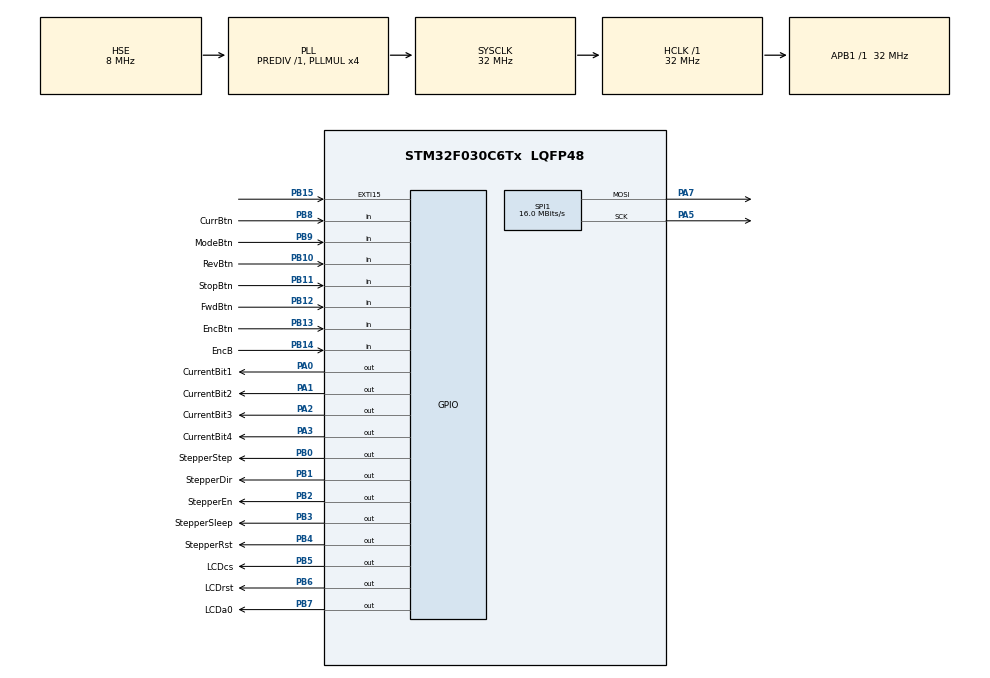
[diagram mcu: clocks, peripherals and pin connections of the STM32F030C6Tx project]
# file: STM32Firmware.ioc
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Mcu.Family=STM32F0
Mcu.Name=STM32F030C6Tx
Mcu.Package=LQFP48
NVIC.EXTI4_15_IRQn=true\:0\:0\:false\:false\:true\:true\:true\:true
NVIC.TIM3_IRQn=true\:0\:0\:false\:false\:true\:true\:true\:true
PA0.GPIO_Label=CurrentBit1
PA0.Signal=GPIO_Output
PA1.GPIO_Label=CurrentBit2
PA1.Signal=GPIO_Output
PA13.Mode=Serial_Wire
PA13.Signal=SYS_SWDIO
PA14.Mode=Serial_Wire
PA14.Signal=SYS_SWCLK
PA2.GPIO_Label=CurrentBit3
PA2.Signal=GPIO_Output
PA3.GPIO_Label=CurrentBit4
PA3.Signal=GPIO_Output
PA4.Signal=SPI1_NSS
PA5.Mode=TX_Only_Simplex_Unidirect_Master
PA5.Signal=SPI1_SCK
PA6.Signal=SPI1_MISO
PA7.Mode=TX_Only_Simplex_Unidirect_Master
PA7.Signal=SPI1_MOSI
PB0.GPIO_Label=StepperStep
PB0.Signal=GPIO_Output
PB1.GPIO_Label=StepperDir
PB1.Signal=GPIO_Output
PB10.GPIO_Label=RevBtn
PB10.Signal=GPIO_Input
PB11.GPIO_Label=StopBtn
PB11.Signal=GPIO_Input
PB12.GPIO_Label=FwdBtn
PB12.Signal=GPIO_Input
PB13.GPIO_Label=EncBtn
PB13.Signal=GPIO_Input
PB14.GPIO_Label=EncB
PB14.Signal=GPIO_Input
PB15.GPIO_ModeDefaultEXTI=GPIO_MODE_IT_RISING_FALLING
PB15.Signal=GPXTI15
PB2.GPIO_Label=StepperEn
PB2.Signal=GPIO_Output
PB3.GPIO_Label=StepperSleep
PB3.Signal=GPIO_Output
PB4.GPIO_Label=StepperRst
PB4.Signal=GPIO_Output
PB5.GPIO_Label=LCDcs
PB5.Signal=GPIO_Output
PB6.GPIO_Label=LCDrst
PB6.Signal=GPIO_Output
PB7.GPIO_Label=LCDa0
PB7.Signal=GPIO_Output
PB8.GPIO_Label=CurrBtn
PB8.Signal=GPIO_Input
PB9.GPIO_Label=ModeBtn
PB9.Signal=GPIO_Input
PF0-OSC_IN.Mode=HSE-External-Oscillator
PF0-OSC_IN.Signal=RCC_OSC_IN
PF1-OSC_OUT.Mode=HSE-External-Oscillator
PF1-OSC_OUT.Signal=RCC_OSC_OUT
ProjectManager.HeapSize=0x200
ProjectManager.StackSize=0x400
ProjectManager.TargetToolchain=CMake
RCC.AHBFreq_Value=32000000
RCC.APB1Freq_Value=32000000
RCC.APB1TimFreq_Value=32000000
RCC.HCLKFreq_Value=32000000
RCC.PLLMUL=RCC_PLL_MUL4
RCC.PLLSourceVirtual=RCC_PLLSOURCE_HSE
RCC.SYSCLKFreq_VALUE=32000000
RCC.SYSCLKSource=RCC_SYSCLKSOURCE_PLLCLK
SPI1.BaudRatePrescaler=SPI_BAUDRATEPRESCALER_2
SPI1.CalculateBaudRate=16.0 MBits/s
SPI1.DataSize=SPI_DATASIZE_8BIT
SPI1.Direction=SPI_DIRECTION_2LINES
SPI1.Mode=SPI_MODE_MASTER
SPI1.VirtualType=VM_MASTER
VP_TIM3_VS_ClockSourceINT.Mode=Internal
board=custom

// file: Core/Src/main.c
/* USER CODE BEGIN Header */
/**
  ******************************************************************************
  * @file           : main.c
  * @brief          : Main program body
  ******************************************************************************
  * @attention
  *
  * Copyright (c) 2025 STMicroelectronics.
  * All rights reserved.
  *
  * This software is licensed under terms that can be found in the LICENSE file
  * in the root directory of this software component.
  * If no LICENSE file comes with this software, it is provided AS-IS.
  *
  ******************************************************************************
  */
/* USER CODE END Header */
#include "main.h"

/* USER CODE BEGIN Includes */
#include <stdbool.h>
#include <math.h>
#include <string.h>
#include <stdio.h>
#include <stdlib.h>

/* USER CODE END Includes */

/* USER CODE BEGIN PD */

#define STEP_PIN GPIO_PIN_0
#define DIR_PIN GPIO_PIN_1

#define STEPS_PER_REV 1600
#define VAL_PER_SEC_TIMER 1e9 //This sets what the units are for all the timer intevals and such. i.e. 1e9 means they're ns.
#define ERROR_FACTOR 16384 //This sets how much finer resolution the interval_error_term is compared to step_interval
#define ERROR_THRESHOLD 10 //This sets the cutoff for step_interval below which we start tracking the error factor
#define CLOCK_SPEED_HZ 32e6

#define ENCODER_POS_TO_REV 0.05
#define MAX_DAC_CURRENT 2579 //The current corresponding to maximum DAC output is 2579mA

#define LCD_WIDTH  132
#define LCD_HEIGHT 64

#define FONT_WIDTH  5
#define FONT_HEIGHT 8

/* USER CODE END PD */

SPI_HandleTypeDef hspi1;

TIM_HandleTypeDef htim3;

void SystemClock_Config(void);
static void MX_GPIO_Init(void);
static void MX_SPI1_Init(void);
static void MX_TIM3_Init(void);

/* USER CODE BEGIN 0 */

//This font taken from Adafruit's GFX Library.
static const unsigned char font[] = {
    0x00, 0x00, 0x00, 0x00, 0x00,
    0x3E, 0x5B, 0x4F, 0x5B, 0x3E,
    0x3E, 0x6B, 0x4F, 0x6B, 0x3E,
    0x1C, 0x3E, 0x7C, 0x3E, 0x1C,
    0x18, 0x3C, 0x7E, 0x3C, 0x18,
    0x1C, 0x57, 0x7D, 0x57, 0x1C,
    0x1C, 0x5E, 0x7F, 0x5E, 0x1C,
    0x00, 0x18, 0x3C, 0x18, 0x00,
    0xFF, 0xE7, 0xC3, 0xE7, 0xFF,
    0x00, 0x18, 0x24, 0x18, 0x00,
    0xFF, 0xE7, 0xDB, 0xE7, 0xFF,
    0x30, 0x48, 0x3A, 0x06, 0x0E,
    0x26, 0x29, 0x79, 0x29, 0x26,
    0x40, 0x7F, 0x05, 0x05, 0x07,
    0x40, 0x7F, 0x05, 0x25, 0x3F,
    0x5A, 0x3C, 0xE7, 0x3C, 0x5A,
    0x7F, 0x3E, 0x1C, 0x1C, 0x08,
    0x08, 0x1C, 0x1C, 0x3E, 0x7F,
    0x14, 0x22, 0x7F, 0x22, 0x14,
    0x5F, 0x5F, 0x00, 0x5F, 0x5F,
    0x06, 0x09, 0x7F, 0x01, 0x7F,
    0x00, 0x66, 0x89, 0x95, 0x6A,
    0x60, 0x60, 0x60, 0x60, 0x60,
    0x94, 0xA2, 0xFF, 0xA2, 0x94,
    0x08, 0x04, 0x7E, 0x04, 0x08,
    0x10, 0x20, 0x7E, 0x20, 0x10,
    0x08, 0x08, 0x2A, 0x1C, 0x08,
    0x08, 0x1C, 0x2A, 0x08, 0x08,
    0x1E, 0x10, 0x10, 0x10, 0x10,
    0x0C, 0x1E, 0x0C, 0x1E, 0x0C,
    0x30, 0x38, 0x3E, 0x38, 0x30,
    0x06, 0x0E, 0x3E, 0x0E, 0x06,
    0x00, 0x00, 0x00, 0x00, 0x00,
    0x00, 0x00, 0x5F, 0x00, 0x00,
    0x00, 0x07, 0x00, 0x07, 0x00,
    0x14, 0x7F, 0x14, 0x7F, 0x14,
    0x24, 0x2A, 0x7F, 0x2A, 0x12,
    0x23, 0x13, 0x08, 0x64, 0x62,
    0x36, 0x49, 0x56, 0x20, 0x50,
    0x00, 0x08, 0x07, 0x03, 0x00,
    0x00, 0x1C, 0x22, 0x41, 0x00,
    0x00, 0x41, 0x22, 0x1C, 0x00,
    0x2A, 0x1C, 0x7F, 0x1C, 0x2A,
    0x08, 0x08, 0x3E, 0x08, 0x08,
    0x00, 0x80, 0x70, 0x30, 0x00,
    0x08, 0x08, 0x08, 0x08, 0x08,
    0x00, 0x00, 0x60, 0x60, 0x00,
    0x20, 0x10, 0x08, 0x04, 0x02,
    0x3E, 0x51, 0x49, 0x45, 0x3E,
    0x00, 0x42, 0x7F, 0x40, 0x00,
    0x72, 0x49, 0x49, 0x49, 0x46,
    0x21, 0x41, 0x49, 0x4D, 0x33,
    0x18, 0x14, 0x12, 0x7F, 0x10,
    0x27, 0x45, 0x45, 0x45, 0x39,
    0x3C, 0x4A, 0x49, 0x49, 0x31,
    0x41, 0x21, 0x11, 0x09, 0x07,
    0x36, 0x49, 0x49, 0x49, 0x36,
    0x46, 0x49, 0x49, 0x29, 0x1E,
    0x00, 0x00, 0x14, 0x00, 0x00,
    0x00, 0x40, 0x34, 0x00, 0x00,
    0x00, 0x08, 0x14, 0x22, 0x41,
    0x14, 0x14, 0x14, 0x14, 0x14,
    0x00, 0x41, 0x22, 0x14, 0x08,
    0x02, 0x01, 0x59, 0x09, 0x06,
    0x3E, 0x41, 0x5D, 0x59, 0x4E,
    0x7C, 0x12, 0x11, 0x12, 0x7C,
    0x7F, 0x49, 0x49, 0x49, 0x36,
    0x3E, 0x41, 0x41, 0x41, 0x22,
    0x7F, 0x41, 0x41, 0x41, 0x3E,
    0x7F, 0x49, 0x49, 0x49, 0x41,
    0x7F, 0x09, 0x09, 0x09, 0x01,
    0x3E, 0x41, 0x41, 0x51, 0x73,
    0x7F, 0x08, 0x08, 0x08, 0x7F,
    0x00, 0x41, 0x7F, 0x41, 0x00,
    0x20, 0x40, 0x41, 0x3F, 0x01,
    0x7F, 0x08, 0x14, 0x22, 0x41,
    0x7F, 0x40, 0x40, 0x40, 0x40,
    0x7F, 0x02, 0x1C, 0x02, 0x7F,
    0x7F, 0x04, 0x08, 0x10, 0x7F,
    0x3E, 0x41, 0x41, 0x41, 0x3E,
    0x7F, 0x09, 0x09, 0x09, 0x06,
    0x3E, 0x41, 0x51, 0x21, 0x5E,
    0x7F, 0x09, 0x19, 0x29, 0x46,
    0x26, 0x49, 0x49, 0x49, 0x32,
    0x03, 0x01, 0x7F, 0x01, 0x03,
    0x3F, 0x40, 0x40, 0x40, 0x3F,
    0x1F, 0x20, 0x40, 0x20, 0x1F,
    0x3F, 0x40, 0x38, 0x40, 0x3F,
    0x63, 0x14, 0x08, 0x14, 0x63,
    0x03, 0x04, 0x78, 0x04, 0x03,
    0x61, 0x59, 0x49, 0x4D, 0x43,
    0x00, 0x7F, 0x41, 0x41, 0x41,
    0x02, 0x04, 0x08, 0x10, 0x20,
    0x00, 0x41, 0x41, 0x41, 0x7F,
    0x04, 0x02, 0x01, 0x02, 0x04,
    0x40, 0x40, 0x40, 0x40, 0x40,
    0x00, 0x03, 0x07, 0x08, 0x00,
    0x20, 0x54, 0x54, 0x78, 0x40,
    0x7F, 0x28, 0x44, 0x44, 0x38,
    0x38, 0x44, 0x44, 0x44, 0x28,
    0x38, 0x44, 0x44, 0x28, 0x7F,
    0x38, 0x54, 0x54, 0x54, 0x18,
    0x00, 0x08, 0x7E, 0x09, 0x02,
    0x18, 0xA4, 0xA4, 0x9C, 0x78,
    0x7F, 0x08, 0x04, 0x04, 0x78,
    0x00, 0x44, 0x7D, 0x40, 0x00,
    0x20, 0x40, 0x40, 0x3D, 0x00,
    0x7F, 0x10, 0x28, 0x44, 0x00,
    0x00, 0x41, 0x7F, 0x40, 0x00,
    0x7C, 0x04, 0x78, 0x04, 0x78,
    0x7C, 0x08, 0x04, 0x04, 0x78,
    0x38, 0x44, 0x44, 0x44, 0x38,
    0xFC, 0x18, 0x24, 0x24, 0x18,
    0x18, 0x24, 0x24, 0x18, 0xFC,
    0x7C, 0x08, 0x04, 0x04, 0x08,
    0x48, 0x54, 0x54, 0x54, 0x24,
    0x04, 0x04, 0x3F, 0x44, 0x24,
    0x3C, 0x40, 0x40, 0x20, 0x7C,
    0x1C, 0x20, 0x40, 0x20, 0x1C,
    0x3C, 0x40, 0x30, 0x40, 0x3C,
    0x44, 0x28, 0x10, 0x28, 0x44,
    0x4C, 0x90, 0x90, 0x90, 0x7C,
    0x44, 0x64, 0x54, 0x4C, 0x44
};

// -------------------------------- Variables --------------------------------

// Variables for the move planner (the numbers are 100x their "real" values)
int stepper_setSpeed = 100; //   rev/s  *100
int stepper_setAccel = 1000;//   rev/s2 *100
int stepper_setMulti = 100; //   unitless
int stepper_setDist = 100;//     rev
int stepper_targPos = 0;//        microsteps !
int stepper_dir = 1; //+1 for forward, -1 for reverse
int stepper_currentSpeed=0;//    rev/s *100
volatile int stepper_currentPos = 0;//    microsteps
int stepper_currentPos_Disp = 0;//revs * 100

volatile int accel_steps = 0;
volatile int stopping_steps =0;
volatile bool running = false;
volatile int steps_remaining=0;
volatile int step_count=0;
 bool step_state = false;
volatile uint32_t step_interval =0;
volatile uint32_t min_interval = 0;
 uint32_t interval_delta =0;
volatile uint32_t interval_error_delta=0;
 uint32_t interval_error_term=0;
volatile uint32_t total_ticks;
volatile uint32_t prescaler;
volatile uint32_t arr;

//Variables for the overall state machine
uint8_t stepper_mode = 0;  // 0 = momentary, 1 = continous, 2 = manJog, 3 = Reciprocate
int stepper_current = 1000;

//Manual Jog
uint8_t lastEncoderMode = 0;

//Reciprocate
int cycleCount = 0;
bool stopNextCycle = 0;
int8_t reciprocate_dir = 0;
int8_t reciprocate_state = 0; // -1=inbound, 0= not running, 1=outbound

//Momentary
int8_t btnCommand = 0;  // -1 = reverse, 0 = stop, 1 = forward

//Encoder variables
//static bool ENC_B_lastState = 0;
int8_t EncStepDir = 0;
bool ENC_A = 0;
bool ENC_B = 0;
uint8_t numEncoderModes=2; //how many encoder modes are available for the current mode
uint8_t encoderMode = 0;  // Current mode
float incrementValue = 0;
uint32_t currPulseTime = 100;
uint32_t lastPulseTime = 0;

typedef struct EncoderParametersStruct {
  int* variable;       // Pointer to the variable we want to modify
  int minVal;          // Minimum value for the variable
  int maxVal;          // Maximum value for the variable
  int fineStepSize;    // Step size for each increment/decrement
  int midStepSize;     // Step size for each increment/decrement
  int coarseStepSize;  // Step size for each increment/decrement
} EncoderParametersStruct;

EncoderParametersStruct encoderParameter[] = {
  // variable, minVal, maxVal, fine, mid, coarse step size
  { &stepper_setSpeed, 1, 2500, 1, 10, 100 },
  { &stepper_setAccel, 1, 99999, 10, 100, 1000 },
  { &stepper_targPos, -32768, 32768, 100, 100, 100 },
  { &stepper_setMulti, 1, 99999, 1, 10, 100 },
  { &stepper_setDist, 1, 99999, 1, 10, 100 },
};

//Button Variables
bool lastStateFWD=false;
bool lastStateSTP=false;
bool lastStateREV=false;
bool lastStateMOD=false;
bool lastStateCUR=false;
bool lastStateENT=false;

//Display Variables
char strBuffer[15]; //a reusable string buffer
static uint8_t buffer[LCD_WIDTH * LCD_HEIGHT / 8];   // 1-bit framebuffer
int8_t cursorPos = 0;

///////////////////////////////////////////////////////////////////////////////////////////////////////////////////
///////////////////////////////////////////////////////////////////////////////////////////////////////////////////
///////////////////////////////////////////////////////////////////////////////////////////////////////////////////
///////////////////////////////////////////////////////////////////////////////////////////////////////////////////
///////////////////////////////////////////////////////////////////////////////////////////////////////////////////
///////////////////////////////////////////////////////////////////////////////////////////////////////////////////

bool isButtonPressedFWD() {
  return HAL_GPIO_ReadPin(GPIOB, GPIO_PIN_12)==GPIO_PIN_SET;
}

bool isButtonPressedSTP() {
  return HAL_GPIO_ReadPin(GPIOB, GPIO_PIN_11)==GPIO_PIN_SET;
}

bool isButtonPressedREV() {
  return HAL_GPIO_ReadPin(GPIOB, GPIO_PIN_10)==GPIO_PIN_SET;
}

bool isButtonPressedMOD() {
  return HAL_GPIO_ReadPin(GPIOB, GPIO_PIN_9)==GPIO_PIN_SET;
}

bool isButtonPressedCUR() {
  return HAL_GPIO_ReadPin(GPIOB, GPIO_PIN_8)==GPIO_PIN_SET;
}

bool isButtonPressedENT() {
  return HAL_GPIO_ReadPin(GPIOB, GPIO_PIN_13)==GPIO_PIN_SET;
}

bool isRisingButtonFWD() {
  bool newState = isButtonPressedFWD();
  bool isRisingEdge = (lastStateFWD==false && newState==true);
  lastStateFWD=newState;
  return isRisingEdge;
}

/*
bool isRisingButtonSTP() {
  bool newState = isButtonPressedSTP();
  bool isRisingEdge = (lastStateSTP==false && newState==true);
  lastStateSTP=newState;
  return isRisingEdge;
}*/

bool isRisingButtonREV() {
  bool newState = isButtonPressedREV();
  bool isRisingEdge = (lastStateREV==false && newState==true);
  lastStateREV=newState;
  return isRisingEdge;
}

bool isRisingButtonMOD() {
  bool newState = isButtonPressedMOD();
  bool isRisingEdge = (lastStateMOD==false && newState==true);
  lastStateMOD=newState;
  return isRisingEdge;
}

bool isRisingButtonCUR() {
  bool newState = isButtonPressedCUR();
  bool isRisingEdge = (lastStateCUR==false && newState==true);
  lastStateCUR=newState;
  return isRisingEdge;
}

bool isRisingButtonENT() {
  bool newState = isButtonPressedENT();
  bool isRisingEdge = (lastStateENT==false && newState==true);
  lastStateENT=newState;
  return isRisingEdge;
}

void setCurrentPins() {
  //This task sets the 4 bits of the DAC to write a value for current limit
  //BIT 4 is the MSB

  float fraction = (float)stepper_current / MAX_DAC_CURRENT;
  uint8_t value = (uint8_t)(fraction * 15.0);  //Squash to a 0-15 range

  HAL_GPIO_WritePin(GPIOA, GPIO_PIN_0, (value & 0x1) ? GPIO_PIN_SET : GPIO_PIN_RESET);
  HAL_GPIO_WritePin(GPIOA, GPIO_PIN_1, (value & 0x2) ? GPIO_PIN_SET : GPIO_PIN_RESET);
  HAL_GPIO_WritePin(GPIOA, GPIO_PIN_2, (value & 0x4) ? GPIO_PIN_SET : GPIO_PIN_RESET);
  HAL_GPIO_WritePin(GPIOA, GPIO_PIN_3, (value & 0x8) ? GPIO_PIN_SET : GPIO_PIN_RESET);
}

///////////////////////////////////////////////////////////////////////////////////////////////////////////////////
///////////////////////////////////////////////////////////////////////////////////////////////////////////////////
///////////////////////////////////////////////////////////////////////////////////////////////////////////////////
///////////////////////////////////////////////////////////////////////////////////////////////////////////////////
///////////////////////////////////////////////////////////////////////////////////////////////////////////////////
///////////////////////////////////////////////////////////////////////////////////////////////////////////////////

void delay_us(uint32_t us) {
    uint32_t count = (SystemCoreClock / 1000000) * us / 5;
    while(count--) {
        __NOP();  // assembly no-op
    }
}

static void ST7567_Select(void)   {HAL_GPIO_WritePin(GPIOB, GPIO_PIN_5, GPIO_PIN_RESET); delay_us(100);}
static void ST7567_Unselect(void)   {HAL_GPIO_WritePin(GPIOB, GPIO_PIN_5, GPIO_PIN_SET); delay_us(100);}

static void ST7567_Command(uint8_t cmd) {
    HAL_GPIO_WritePin(GPIOB, GPIO_PIN_7, GPIO_PIN_RESET); //DC Bit
    ST7567_Select();
    HAL_SPI_Transmit(&hspi1, &cmd, 1, HAL_MAX_DELAY);
    ST7567_Unselect();
}

void ST7567_Init(void) {
    // Reset pulse
    HAL_GPIO_WritePin(GPIOB, GPIO_PIN_6, GPIO_PIN_RESET); // pulsing the reset pin
    HAL_Delay(100);
    HAL_GPIO_WritePin(GPIOB, GPIO_PIN_6, GPIO_PIN_SET);

    // Typical ST7567 init sequence
    ST7567_Command(0xAE);
    ST7567_Command(0xE2);
    ST7567_Command(0xA1);
    ST7567_Command(0xC0);
    ST7567_Command(0xA2);
    ST7567_Command(0x2F);
    ST7567_Command(0x26);
    ST7567_Command(0x81);
    ST7567_Command(0x28);
    ST7567_Command(0xAF);
}

void ST7567_Clear(void) {
    memset(buffer, 0x00, sizeof(buffer));
}

void ST7567_DrawPixel(uint8_t x, uint8_t y) { //}, uint8_t color) {
    if (x >= LCD_WIDTH || y >= LCD_HEIGHT) return;
    uint16_t index = x + (y / 8) * LCD_WIDTH;
    //if (color)
    buffer[index] |=  (1 << (y & 7));
    //else       buffer[index] &= ~(1 << (y & 7));
}

void ST7567_DrawHLine(uint8_t x0, uint8_t x1, uint8_t y)
{
    if (x1 < x0) {
        uint8_t temp = x0;
        x0 = x1;
        x1 = temp;
    }

    for (uint8_t x = x0; x <= x1; x++) {
        ST7567_DrawPixel(x, y);
    }
}

void ST7567_DrawVLine(uint8_t x, uint8_t y0, uint8_t y1)
{
    if (y1 < y0) {
        uint8_t temp = y0;
        y0 = y1;
        y1 = temp;
    }

    for (uint8_t y = y0; y <= y1; y++) {
        ST7567_DrawPixel(x, y);
    }
}

void ST7567_DrawRect(uint8_t x0, uint8_t y0, uint8_t x1, uint8_t y1)
{
    ST7567_DrawHLine(x0, x1, y0); // top
    ST7567_DrawHLine(x0, x1, y1); // bottom
    ST7567_DrawVLine(x0, y0, y1); // left
    ST7567_DrawVLine(x1, y0, y1); // right
}

void ST7567_Display(void) {
    for (uint8_t page = 0; page < (LCD_HEIGHT / 8); page++) {
        ST7567_Command(0xB0 | page);    // set page address
        ST7567_Command(0x10);           // set column high bits to 0
        ST7567_Command(0x00);           // set column low bits to 0

        ST7567_Select();
        HAL_GPIO_WritePin(GPIOB, GPIO_PIN_7, GPIO_PIN_SET); //DC Bit
        HAL_SPI_Transmit(&hspi1, &buffer[LCD_WIDTH * page], LCD_WIDTH, HAL_MAX_DELAY);
        ST7567_Unselect();
    }
}

void ST7567_DrawChar(uint8_t x, uint8_t y, char c, uint8_t size)
{
    const uint8_t *glyph = &font[(c * 5)];

    for (uint8_t col = 0; col < FONT_WIDTH; col++) {
        uint8_t line = glyph[col];
        for (uint8_t row = 0; row < FONT_HEIGHT; row++) {
            if (line & 0x01) {
                // Draw scaled pixel block
                for (uint8_t dx = 0; dx < size; dx++) {
                    for (uint8_t dy = 0; dy < size; dy++) {
                        ST7567_DrawPixel(x + col * size + dx, y + row * size + dy);
                    }
                }
            }
            line >>= 1;
        }
    }
}

void ST7567_DrawText(uint8_t x, uint8_t y, const char *text, uint8_t size)
{
    while (*text) {
        ST7567_DrawChar(x, y, *text, size);
        x += (FONT_WIDTH + 1) * size; // 1-pixel spacing scaled up
        text++;
    }
}

void DrawBitmap(int x, int y, const uint8_t *bitmap, int width, int height)
{
    int byteWidth = (width + 7) / 8; // each byte holds 8 horizontal pixels

    for (int j = 0; j < height; j++)
    {
        for (int i = 0; i < width; i++)
        {
            int byteIndex = j * byteWidth + i / 8;
            if (bitmap[byteIndex] & (0x80 >> (i & 7)))
            {
                ST7567_DrawPixel(x + i, y + j);
            }
        }
    }
}

uint8_t squareSymbolBitmap[] = {
  0b11100000,
  0b00100000,
  0b11100000,
  0b10000000,
  0b11100000,
};

uint8_t upArrow[] = { 0x20, 0x50, 0x88 };    // bitmap image of up arrow
uint8_t downArrow[] = { 0x88, 0x50, 0x20 };  // bitmap image of down arrow

void displayDrawArrow() {
  int position = 0;
  if ((HAL_GetTick() % 500) > 125) position = 1;
  if ((HAL_GetTick() % 500) > 250) position = 2;
  if ((HAL_GetTick() % 500) > 375) position = 3;

  if (stepper_currentSpeed > 0) {
    DrawBitmap(81, 24 - position, upArrow, 5, 3); }

  if (stepper_currentSpeed < 0) {
    DrawBitmap(81, 21 + position, downArrow, 5, 3);}
}

///////////////////////////////////////////////////////////////////////////////////////////////////////////////////
///////////////////////////////////////////////////////////////////////////////////////////////////////////////////
///////////////////////////////////////////////////////////////////////////////////////////////////////////////////
///////////////////////////////////////////////////////////////////////////////////////////////////////////////////
///////////////////////////////////////////////////////////////////////////////////////////////////////////////////
///////////////////////////////////////////////////////////////////////////////////////////////////////////////////

void drawSplashScreen() {
  ST7567_Clear();
  memset(buffer, 0xFF, sizeof(buffer));
  ST7567_DrawText(5,23,"Zino Manufacturing",1);
  ST7567_DrawText(5,33,"Dominic Panzino 2025", 1);
  ST7567_Display();
}

//This function assumes the number is 100x its "real" value
void printToTwoDecimalPlaces(char formatString[], int number) {
  memset(strBuffer, 0x00, sizeof(strBuffer));
  snprintf(strBuffer, sizeof(strBuffer), formatString,number/100,abs((number/10)%10),abs((number%10)));
}

void drawScreenBasics() {
  ST7567_Clear();

  if (stepper_current == 0) {
    if((HAL_GetTick() % 1000) > 500) {
      ST7567_DrawText(91,20, "OFF", 1);
    }
  } else {
    memset(strBuffer, 0x00, sizeof(strBuffer));
    snprintf(strBuffer, sizeof(strBuffer), "%d mA",stepper_current);
    ST7567_DrawText(91,20, strBuffer, 1);
  }

  if(stepper_mode==0) {
    ST7567_DrawText(5,20, "Momentary", 1);
  } else if (stepper_mode==1) {
    ST7567_DrawText(5,20, "Continuous", 1);
  } else if (stepper_mode==2) {
    ST7567_DrawText(5,20, "Manual Jog", 1);
  } else if (stepper_mode==3) {
    ST7567_DrawText(5,20, "Reciprocate", 1);
  } else if (stepper_mode==4) {
    ST7567_DrawText(5,20, "Incremental", 1);
  }

  ST7567_DrawHLine(0,132,29);
  ST7567_DrawVLine(87,20,29);
  displayDrawArrow();
  if(cursorPos>=0) {ST7567_DrawRect(4, cursorPos * 10 + 42, 39, cursorPos * 10 + 32);}

    // Print Speed setting
  memset(strBuffer, 0x00, sizeof(strBuffer));
  printToTwoDecimalPlaces("Speed: %d.%d%d",stepper_setSpeed);
  ST7567_DrawText(6,34,strBuffer,1);
  ST7567_DrawText(93,34,"R/s",1);

  //Print Accel Setting
  if(stepper_setAccel < 0.05) {
    ST7567_DrawText(6,44,"Accel: inf",1);
  } else {
    memset(strBuffer, 0x00, sizeof(strBuffer));
    printToTwoDecimalPlaces("Accel: %d.%d%d",stepper_setAccel);
    ST7567_DrawText(6,44,strBuffer,1);
  }
  ST7567_DrawText(93,44,"R/s",1);
  DrawBitmap(111, 43, squareSymbolBitmap, 3, 5);
}

void screenMomentaryContinous() {

    drawScreenBasics();

    //Show Speed as main status
    memset(strBuffer, 0x00, sizeof(strBuffer));
    printToTwoDecimalPlaces("R/s %d.%d%d",stepper_currentSpeed);
    ST7567_DrawText(5,3,strBuffer,2);

    //Write to display
    ST7567_Display();
}

void screenManJog() {

    drawScreenBasics();

    //Show position as the main status value
    if (stepper_currentPos_Disp < -99999) { //0.225???
      ST7567_DrawText(5,3,"POS   --",2);
    } else if (stepper_currentPos_Disp > 999999) {
      ST7567_DrawText(5,3,"POS   ++",2);
    } else {
      memset(strBuffer, 0x00, sizeof(strBuffer));
      if(abs(stepper_currentPos_Disp) < 1000) {
        printToTwoDecimalPlaces("POS: %d.%d%d",stepper_currentPos_Disp);
      } else {
        printToTwoDecimalPlaces("POS: %d.%d%d",stepper_currentPos_Disp);
      }
      ST7567_DrawText(5,3,strBuffer,2);
    }

    //Print mult factor
    memset(strBuffer, 0x00, sizeof(strBuffer));
    printToTwoDecimalPlaces("Multi: %d.%d%d",stepper_setMulti);
    ST7567_DrawText(5,54,strBuffer,1);

    //Write to display
    ST7567_Display();

}

void screenReciprocate() {

    drawScreenBasics();

    //Print cycle count
    memset(strBuffer, 0x00, sizeof(strBuffer));
    snprintf(strBuffer, sizeof(strBuffer), "# %d",cycleCount);
    ST7567_DrawText(5,3,strBuffer,2);

    //Print Distance Setting
    memset(strBuffer, 0x00, sizeof(strBuffer));
    printToTwoDecimalPlaces("Dist: %d.%d%d",stepper_setDist);
    ST7567_DrawText(5,54,strBuffer,1);
    ST7567_DrawText(93,54,"Rev",1);

    //Write to display
    ST7567_Display();
}

void screenIncremental() {

    drawScreenBasics();

    //Show position as the main status value
    if (stepper_currentPos_Disp < -99999) { //0.225???
      ST7567_DrawText(5,3,"POS:   --",2);
    } else if (stepper_currentPos_Disp > 999999) {
      ST7567_DrawText(5,3,"POS:   ++",2);
    } else {
      memset(strBuffer, 0x00, sizeof(strBuffer));
      if(abs(stepper_currentPos_Disp) < 1000) {
        printToTwoDecimalPlaces("POS: %d.%d%d",stepper_currentPos_Disp);
      } else {
        printToTwoDecimalPlaces("POS: %d.%d%d",stepper_currentPos_Disp);
      }
      ST7567_DrawText(5,3,strBuffer,2);
    }

    //Print Distance Setting
    memset(strBuffer, 0x00, sizeof(strBuffer));
    printToTwoDecimalPlaces("Dist: %d.%d%d",stepper_setDist);
    ST7567_DrawText(5,54,strBuffer,1);
    ST7567_DrawText(93,54,"Rev",1);

    //Write to display
    ST7567_Display();
}

void screenDebug() {
  ST7567_Clear();
  if(isButtonPressedFWD()) {ST7567_DrawText(5,13,"fwd", 1);}
  if(isButtonPressedSTP()) {ST7567_DrawText(5,23,"stp", 1);}
  if(isButtonPressedREV()) {ST7567_DrawText(5,33,"rev", 1);}
  if(isButtonPressedMOD()) {ST7567_DrawText(45,13,"mod", 1);}
  if(isButtonPressedENT()) {ST7567_DrawText(45,23,"ent", 1);}
  if(isButtonPressedCUR()) {ST7567_DrawText(45,33,"cur", 1);}

  if(HAL_GPIO_ReadPin(GPIOB, GPIO_PIN_15)==GPIO_PIN_SET) {ST7567_DrawText(5,43,"a", 1);}//A
  if(HAL_GPIO_ReadPin(GPIOB, GPIO_PIN_14)==GPIO_PIN_SET) {ST7567_DrawText(45,43,"b", 1);}//B

  printToTwoDecimalPlaces("value: %d.%d%d",stepper_setSpeed);
  ST7567_DrawText(5,54,strBuffer,1);
  ST7567_Display();
}

void DisplayTask() {
  switch (stepper_mode) {
    case 0: screenMomentaryContinous(); break;
    case 1: screenMomentaryContinous(); break;
    case 2: screenManJog(); break;
    case 3: screenReciprocate(); break;
    case 4: screenIncremental(); break;
  }
}

///////////////////////////////////////////////////////////////////////////////////////////////////////////////////
///////////////////////////////////////////////////////////////////////////////////////////////////////////////////
///////////////////////////////////////////////////////////////////////////////////////////////////////////////////
///////////////////////////////////////////////////////////////////////////////////////////////////////////////////
///////////////////////////////////////////////////////////////////////////////////////////////////////////////////
///////////////////////////////////////////////////////////////////////////////////////////////////////////////////

///////////////////////////////////////////////////////////////////////////////////////////////////////////////////

///////////////////////////////////////////////////////////////////////////////////////////////////////////////////

///////////////////////////////////////////////////////////////////////////////////////////////////////////////////

void stepperInit() {
  HAL_GPIO_WritePin(GPIOB,GPIO_PIN_3,GPIO_PIN_SET); //Put the stepper driver out of sleep mode.
  HAL_GPIO_WritePin(GPIOB,GPIO_PIN_4,GPIO_PIN_RESET); //Reset the stepper driver
  HAL_Delay(5);
  HAL_GPIO_WritePin(GPIOB,GPIO_PIN_4,GPIO_PIN_SET); //unreset the stepper driver
  setCurrentPins();
  HAL_TIM_Base_Start_IT(&htim3);
}

void stepperSetCurrentPosition(int pos) {
  stepper_currentPos=pos;
}

void stepperDeadstop() { //This function instantly stops the motor, ignoring all deceleration limits
  running=false;
  step_count=0;
  steps_remaining=0;
}

void stepperStop() {
  //stopping_steps=STEPS_PER_REV*(stepper_currentSpeed * stepper_currentSpeed) / (2.0 * stepper_setAccel) / 100;
  if(steps_remaining>=stoppingSteps) {steps_remaining=stoppingSteps;} //This will cause the motor to decelerate to a stop.
}

int stepperDistanceToGo() {
  return stepper_targPos - stepper_currentPos;
}

//Plans a move for that distance
void stepperMove(int steps) {
  if (running) return; // just ignore if we're already moving
  if (steps==0) return; //why?

  //Direction setting
  stepper_dir = (steps>0 ? 1 : -1);
  HAL_GPIO_WritePin(GPIOB,GPIO_PIN_1,steps>0 ? GPIO_PIN_SET : GPIO_PIN_RESET);
  steps=steps*stepper_dir;

  min_interval = (VAL_PER_SEC_TIMER / (stepper_setSpeed*STEPS_PER_REV/100) / 2);
  steps_remaining = steps;

  if(stepper_setAccel < 0.05) {
    accel_steps = 0;
    step_interval = min_interval;
    stopping_steps=0;
  } else {
    //accel_steps = STEPS_PER_REV*(stepper_setSpeed * stepper_setSpeed) / (2.0 * stepper_setAccel) / 100 * 1.2;
    accel_steps = (STEPS_PER_REV*stepper_setSpeed)/(2.0 * stepper_setAccel*100) * stepper_setSpeed*1.2 ;
    if (accel_steps * 2 > steps) { //Triangle Moves
      stopping_steps = steps / 2;
    } else {
      stopping_steps = accel_steps;

    }
    step_interval = 0.5*VAL_PER_SEC_TIMER/(sqrt(stepper_setAccel*STEPS_PER_REV/100)); // need to figure out initial interval based on desired acceleration. The leading coefficient is just a fudge factor, TBD
  }

  running = true;
}

void stepperMoveTo(int position) {
  stepperMove(position - stepper_currentPos);
}

/*void stepperSetMaxSpeed(int speed) {
  stepper_setSpeed=speed;
  accel_steps = STEPS_PER_REV*(stepper_setSpeed * stepper_setSpeed) / (2.0 * stepper_setAccel);
}

void stepperSetAcceleration(int accel) {
  stepper_setAccel=accel;
  accel_steps = STEPS_PER_REV*(stepper_setSpeed * stepper_setSpeed) / (2.0 * stepper_setAccel);
}*/

void MetricsTask() {
  if(running) {
    stepper_currentSpeed = VAL_PER_SEC_TIMER/(2*step_interval)*100/STEPS_PER_REV*stepper_dir;
    min_interval = (VAL_PER_SEC_TIMER / (stepper_setSpeed*STEPS_PER_REV/100) / 2);
    stopping_steps=STEPS_PER_REV*(stepper_currentSpeed * stepper_currentSpeed) / (2.0 * stepper_setAccel) / 100;
  } else {
    stepper_currentSpeed = 0;
  }
  stepper_currentPos_Disp = stepper_currentPos*100/STEPS_PER_REV;
}

//This is the interrupt that's triggered when it's time to step
void HAL_TIM_PeriodElapsedCallback(TIM_HandleTypeDef *htim) {
  if(!running) return; //nothing to do here
  if (step_state) {HAL_GPIO_WritePin(GPIOB,GPIO_PIN_0,GPIO_PIN_RESET); step_state=false; return;} //just reset the pin and move along

  HAL_GPIO_WritePin(GPIOB,GPIO_PIN_0,GPIO_PIN_SET); //Step !
  step_state=true;
  step_count++;
  steps_remaining--;
  stepper_currentPos+=stepper_dir;

  if(steps_remaining==0) {
    running=false;
    step_count=0;
    setTimer(1e6);//slow down the interupt timer so it isn't going crazy for no reason.
    return;
  }

  if (steps_remaining <= stopping_steps) { //time to start slowing down
    interval_delta = (2*step_interval)/(4*steps_remaining+1);
    step_interval += interval_delta;
    if(interval_delta<=ERROR_THRESHOLD) { //At this  point we need to keep track of fractional ns increments
      interval_error_term += ((2*ERROR_FACTOR*step_interval)/(4*steps_remaining+1))-interval_delta*ERROR_FACTOR;
      if(interval_error_term>ERROR_FACTOR) {
        interval_error_term-=ERROR_FACTOR;
        step_interval+=1; //increment the interval by 1ns every time the error term rolls over
      }
    }
  } else if (step_count < accel_steps) {
    interval_delta = (2*step_interval)/(4*step_count+1); //This is the special formula
    step_interval -= interval_delta;
    if(interval_delta<=ERROR_THRESHOLD) { //At this point we need to keep track of fractional ns increments
      interval_error_term += ((2*ERROR_FACTOR*step_interval)/(4*step_count+1))-interval_delta*ERROR_FACTOR;
      if(interval_error_term>ERROR_FACTOR) {
        interval_error_term-=ERROR_FACTOR;
        step_interval-=1; //decrement the interval by 1ns every time the error term rolls over
      }
    }
    if (step_interval < min_interval) {
      step_interval = min_interval;
      interval_error_term=0;
    }
  }

  setTimer(step_interval/(32));//(VAL_PER_SEC_TIMER/CLOCK_SPEED_HZ);
}

void setTimer(uint32_t total_ticks) {
  prescaler = (uint32_t)(total_ticks / 32768);
  if(prescaler==0) {prescaler=1;}
  if (prescaler > 0xFFFF) prescaler = 0xFFFF;
  arr = (uint32_t)(total_ticks / (prescaler+1));

  if (arr > 0xFFFF) arr = 0xFFFF; else if (arr == 0) arr = 1;

  __HAL_TIM_SET_PRESCALER(htim, prescaler);
  __HAL_TIM_SET_AUTORELOAD(htim, arr - 1);
}

///////////////////////////////////////////////////////////////////////////////////////////////////////////////////

///////////////////////////////////////////////////////////////////////////////////////////////////////////////////

///////////////////////////////////////////////////////////////////////////////////////////////////////////////////

///////////////////////////////////////////////////////////////////////////////////////////////////////////////////
///////////////////////////////////////////////////////////////////////////////////////////////////////////////////
///////////////////////////////////////////////////////////////////////////////////////////////////////////////////
///////////////////////////////////////////////////////////////////////////////////////////////////////////////////
///////////////////////////////////////////////////////////////////////////////////////////////////////////////////
///////////////////////////////////////////////////////////////////////////////////////////////////////////////////

void ButtonTask() {
  //This purpose of this task is to monitor the current and mode buttons (mostly the latter)

  // Read Current Button
  if (isRisingButtonCUR()) {
    if (stepper_current + 200 <= 2000) {
      stepper_current += 200;
    } else {
      stepper_current = 0;
    }
    setCurrentPins();

    if(stepper_current == 0) {
      HAL_GPIO_WritePin(GPIOB,GPIO_PIN_2,GPIO_PIN_SET); //stepper enable pin
    } else {
      HAL_GPIO_WritePin(GPIOB,GPIO_PIN_2,GPIO_PIN_RESET);
    }
  }

  if (isRisingButtonENT()) {
    cursorPos++;
    if(cursorPos>=numEncoderModes) {cursorPos=-1;}

    if(stepper_mode==0){ //Momentary
      switch(cursorPos) {
        case -1: cursorPos=0; //-1 pos isn't allowed here. The lack of a break is deliberate
        case 0: encoderMode=0; break;//Speed
        case 1: encoderMode=1; break;//Accel
      }
    } else if(stepper_mode==1){//Continuous
      switch(cursorPos) {
        case -1: cursorPos=0; //-1 pos isn't allowed here. The lack of a break is deliberate
        case 0: encoderMode=0; break;//Speed
        case 1: encoderMode=1; break;//Accel
      }
    } else if(stepper_mode==2){//Manual Jog
      switch(cursorPos) {
        case -1: encoderMode=2; break;//Position
        case 0: encoderMode=0; break;//Speed
        case 1: encoderMode=1; break;//Accel
        case 2: encoderMode=3; break;//Multi
      }
    } else if(stepper_mode==3 || stepper_mode==4){//Reciprocate or Incremental
      switch(cursorPos) {
        case -1: cursorPos=0; //-1 pos isn't allowed here. The lack of a break is deliberate
        case 0: encoderMode=0; break;//Speed
        case 1: encoderMode=1; break;//Accel
        case 2: encoderMode=4; break;//Distance
      }
    }
  }

  if (isRisingButtonMOD()) {
    // 0 = momentary, 1 = continous, 2 = manJog, 3 = Reciprocate, 4 = Incremental
    stepper_mode+=1;
    if(stepper_mode>4) {stepper_mode = 0;}

    //Stop whatever was happening when the mode changes
    stepperDeadstop();
    stopNextCycle = 0;
    stepperSetCurrentPosition(0);
    reciprocate_state=0;
    reciprocate_dir=0;

    //Initialization commands for each mode
    switch (stepper_mode) {
      case 0: {
        cursorPos=0;
        encoderMode = 0;
        numEncoderModes=2;
        break;
      }
      case 1: {
        btnCommand = 0;
        cursorPos=0;
        encoderMode = 0;
        numEncoderModes=2;
        break;
      }
      case 2: {
        lastEncoderMode = 0;
        stepperSetCurrentPosition(0);
        stepper_targPos = 0;
        numEncoderModes=3;
        cursorPos = -1;
        encoderMode=2;
        break;
      }
      case 3: {
       cycleCount = 0;
       stepperSetCurrentPosition(0);
       stopNextCycle = 0;
       numEncoderModes=3;
       encoderMode=0;
       reciprocate_dir = 0;
       reciprocate_state=0;
       cursorPos=0;
       break;
      }
      case 4: {
       stepperSetCurrentPosition(0);
       numEncoderModes=3;
       encoderMode=0;
       cursorPos=0;
       break;
      }
    }
  }
}

//Encoder interrupt function
void HAL_GPIO_EXTI_Callback(uint16_t GPIO_Pin) {
  EncStepDir = (HAL_GPIO_ReadPin(GPIOB, GPIO_PIN_15)==HAL_GPIO_ReadPin(GPIOB, GPIO_PIN_14) ? 1 : -1);
  currPulseTime = HAL_GetTick();
}

void EncoderTask() {
  if (EncStepDir!=0) {

    if (currPulseTime - lastPulseTime > 80) {
      incrementValue = encoderParameter[encoderMode].fineStepSize;
    } else if (currPulseTime - lastPulseTime > 40) {
      incrementValue = encoderParameter[encoderMode].midStepSize;
    } else {
      incrementValue = encoderParameter[encoderMode].coarseStepSize;
    }
    lastPulseTime = currPulseTime;

    // Snap the value to the nearest multiple of incrementValue
    if (incrementValue > encoderParameter[encoderMode].fineStepSize) {
      *encoderParameter[encoderMode].variable = round(*encoderParameter[encoderMode].variable / incrementValue) * incrementValue;
    }

    // Adjust the variable based on encoder direction, ensuring it remains within bounds
    if (EncStepDir<0) {
      if (*encoderParameter[encoderMode].variable - incrementValue >= encoderParameter[encoderMode].minVal) {
        *encoderParameter[encoderMode].variable -= incrementValue;
      } else {
        *encoderParameter[encoderMode].variable = encoderParameter[encoderMode].minVal;
      }
    } else {
      if (*encoderParameter[encoderMode].variable + incrementValue <= encoderParameter[encoderMode].maxVal) {
        *encoderParameter[encoderMode].variable += incrementValue;
      } else {
        *encoderParameter[encoderMode].variable = encoderParameter[encoderMode].maxVal;
      }
    }
  }
  EncStepDir=0;
}

///////////////////////////////////////////////////////////////////////////////////////////////////////////////////
///////////////////////////////////////////////////////////////////////////////////////////////////////////////////
///////////////////////////////////////////////////////////////////////////////////////////////////////////////////
///////////////////////////////////////////////////////////////////////////////////////////////////////////////////
///////////////////////////////////////////////////////////////////////////////////////////////////////////////////
///////////////////////////////////////////////////////////////////////////////////////////////////////////////////

void stepperMomentary() {
  //stepperSetMaxSpeed(stepper_setSpeed * STEPS_PER_REV);
  //stepper_setAccel < 0.05 ? stepperSetAcceleration(999 * STEPS_PER_REV) : stepperSetAcceleration(stepper_setAccel * STEPS_PER_REV);

  if (isButtonPressedFWD()) {
    btnCommand=1;
    stepperMove(STEPS_PER_REV * 1000);  // Move a large distance forward
  } else if (isButtonPressedREV()) {
    btnCommand=-1;
    stepperMove(STEPS_PER_REV * -1000);  // Move a large distance backward
  } else {
    stepperStop();   // Stop the motor gracefully when you aren't hitting any button
  }

  if (isButtonPressedSTP()) {
    stepperDeadstop(); //Stop the motor instantly when you hit the stop button.
  }
}

void stepperContinous() {
  // Button latch
  if (isRisingButtonFWD()) {
    btnCommand = (btnCommand == 0 ? 1 : 0);
  }
  if (isRisingButtonREV()) {
    btnCommand = (btnCommand == 0 ? -1 : 0);
  }

  //stepper_setAccel < 0.05 ? stepperSetAcceleration(99999 * STEPS_PER_REV) : stepperSetAcceleration(stepper_setAccel * STEPS_PER_REV);

  if (btnCommand == 1) {
    stepperMove(STEPS_PER_REV * 1000);  // Move a large distance forward
  } else if (btnCommand == -1) {
    stepperMove(STEPS_PER_REV * -1000);  // Move a large distance backward
  } else {
    stepperMove(0);  // Stop the motor when there is no btn command
  }
  if (isButtonPressedSTP()) {
    btnCommand = 0;
    stepperStop();  // Stop the motor gracefully in this mode when you hit the stop button
  }
}

void stepperJog() {
    stepperMoveTo(stepper_targPos * stepper_setMulti*0.01);

    //This OR is to reset the home position when you change settings, since you might rescale everything.
    if (isButtonPressedSTP() || lastEncoderMode != encoderMode) {
      stepperSetCurrentPosition(0);
      stepper_targPos = 0;
      stepperDeadstop();   // Stop the motor when you hit the stop button
    }
    lastEncoderMode = encoderMode;
}

void stepperReciprocate() {
    if (reciprocate_state==0) {
      if (isRisingButtonFWD()) {reciprocate_dir = 1;}
      if (isRisingButtonREV()) {reciprocate_dir = -1;}
      if (reciprocate_dir!=0) {
        reciprocate_state=1; stepperMoveTo(reciprocate_dir * stepper_setDist * STEPS_PER_REV * 0.01);
      }
    } else if(running) {
      if (isRisingButtonFWD() || isRisingButtonREV()) {stopNextCycle = 1;}
      if (isButtonPressedSTP()) {//Stops the motion immediately when hitting the stop button or changing modes
        stopNextCycle = 0;
        stepperSetCurrentPosition(0);
        stepperDeadstop();
        reciprocate_state=0;
        reciprocate_dir=0;
      }
    } else if (reciprocate_state==1) {
      reciprocate_state=-1;
      stepperMoveTo(0);
    } else if (reciprocate_state==-1) {
        cycleCount++;
        if(stopNextCycle==1) {
          reciprocate_state=0;
          reciprocate_dir=0;
          stopNextCycle=0;
        } else {
          reciprocate_state=1;
          stepperMoveTo(reciprocate_dir * stepper_setDist * STEPS_PER_REV* 0.01);
        }
    }
}

void stepperIncremental() {
  if(running) {
    btnCommand=0;
    if (isButtonPressedSTP()) {//Stops the motion immediately when hitting the stop button or changing modes
      stepperSetCurrentPosition(0);
      stepperDeadstop();
    }
  } else {
    if (isRisingButtonFWD()) {btnCommand = 1;}
    if (isRisingButtonREV()) {btnCommand = -1;}
    if (btnCommand!=0) {
      stepperMoveTo(btnCommand * stepper_setDist * STEPS_PER_REV * 0.01 + stepper_currentPos);
    }
  }
}

void StepperTask() {
  switch (stepper_mode) {
    case 0: stepperMomentary(); break;
    case 1: stepperContinous(); break;
    case 2: stepperJog(); break;
    case 3: stepperReciprocate(); break;
    case 4: stepperIncremental(); break;
  }
}

///////////////////////////////////////////////////////////////////////////////////////////////////////////////////
///////////////////////////////////////////////////////////////////////////////////////////////////////////////////
///////////////////////////////////////////////////////////////////////////////////////////////////////////////////
///////////////////////////////////////////////////////////////////////////////////////////////////////////////////
///////////////////////////////////////////////////////////////////////////////////////////////////////////////////
///////////////////////////////////////////////////////////////////////////////////////////////////////////////////

/* USER CODE END 0 */

int main(void)
{

  /* MCU Configuration--------------------------------------------------------*/

  /* Reset of all peripherals, Initializes the Flash interface and the Systick. */
  HAL_Init();

  /* Configure the system clock */
  SystemClock_Config();

  /* Initialize all configured peripherals */
  MX_GPIO_Init();
  MX_SPI1_Init();
  MX_TIM3_Init();
  /* USER CODE BEGIN 2 */

  ST7567_Init();
  HAL_Delay(100);
  drawSplashScreen();
  HAL_Delay(1000);
  stepperInit();

  /* USER CODE END 2 */

  /* Infinite loop */
  while (1)
  {

    /* USER CODE BEGIN 3 */
    EncoderTask();  //This task reads the encoder rotary pulses and adjusts the specified parameter
    ButtonTask();   //This task reads the Mode, Current, and Encoder buttons. It also handles switching modes
    StepperTask();  //This task implements the motor commands
    MetricsTask();  //This task updates things like the currentSpeed and currentPosition in non-time-critical scope so those values can be displayed
    DisplayTask();  //This task draws the display every cycle
    //screenDebug();
  }
  /* USER CODE END 3 */
}

void SystemClock_Config(void)
{
  RCC_OscInitTypeDef RCC_OscInitStruct = {0};
  RCC_ClkInitTypeDef RCC_ClkInitStruct = {0};

  /** Initializes the RCC Oscillators according to the specified parameters
  * in the RCC_OscInitTypeDef structure.
  */
  RCC_OscInitStruct.OscillatorType = RCC_OSCILLATORTYPE_HSE;
  RCC_OscInitStruct.HSEState = RCC_HSE_ON;
  RCC_OscInitStruct.PLL.PLLState = RCC_PLL_ON;
  RCC_OscInitStruct.PLL.PLLSource = RCC_PLLSOURCE_HSE;
  RCC_OscInitStruct.PLL.PLLMUL = RCC_PLL_MUL4;
  RCC_OscInitStruct.PLL.PREDIV = RCC_PREDIV_DIV1;
  if (HAL_RCC_OscConfig(&RCC_OscInitStruct) != HAL_OK)
  {
    Error_Handler();
  }

  /** Initializes the CPU, AHB and APB buses clocks
  */
  RCC_ClkInitStruct.ClockType = RCC_CLOCKTYPE_HCLK|RCC_CLOCKTYPE_SYSCLK
                              |RCC_CLOCKTYPE_PCLK1;
  RCC_ClkInitStruct.SYSCLKSource = RCC_SYSCLKSOURCE_PLLCLK;
  RCC_ClkInitStruct.AHBCLKDivider = RCC_SYSCLK_DIV1;
  RCC_ClkInitStruct.APB1CLKDivider = RCC_HCLK_DIV1;

  if (HAL_RCC_ClockConfig(&RCC_ClkInitStruct, FLASH_LATENCY_1) != HAL_OK)
  {
    Error_Handler();
  }
}

static void MX_SPI1_Init(void)
{

  /* SPI1 parameter configuration*/
  hspi1.Instance = SPI1;
  hspi1.Init.Mode = SPI_MODE_MASTER;
  hspi1.Init.Direction = SPI_DIRECTION_2LINES;
  hspi1.Init.DataSize = SPI_DATASIZE_8BIT;
  hspi1.Init.CLKPolarity = SPI_POLARITY_LOW;
  hspi1.Init.CLKPhase = SPI_PHASE_1EDGE;
  hspi1.Init.NSS = SPI_NSS_SOFT;
  hspi1.Init.BaudRatePrescaler = SPI_BAUDRATEPRESCALER_8;
  hspi1.Init.FirstBit = SPI_FIRSTBIT_MSB;
  hspi1.Init.TIMode = SPI_TIMODE_DISABLE;
  hspi1.Init.CRCCalculation = SPI_CRCCALCULATION_DISABLE;
  hspi1.Init.CRCPolynomial = 7;
  hspi1.Init.CRCLength = SPI_CRC_LENGTH_DATASIZE;
  hspi1.Init.NSSPMode = SPI_NSS_PULSE_ENABLE;
  if (HAL_SPI_Init(&hspi1) != HAL_OK)
  {
    Error_Handler();
  }

}

static void MX_TIM3_Init(void)
{

  TIM_ClockConfigTypeDef sClockSourceConfig = {0};
  TIM_MasterConfigTypeDef sMasterConfig = {0};

  htim3.Instance = TIM3;
  htim3.Init.Prescaler = 0;
  htim3.Init.CounterMode = TIM_COUNTERMODE_UP;
  htim3.Init.Period = 65535;
  htim3.Init.ClockDivision = TIM_CLOCKDIVISION_DIV1;
  htim3.Init.AutoReloadPreload = TIM_AUTORELOAD_PRELOAD_DISABLE;
  if (HAL_TIM_Base_Init(&htim3) != HAL_OK)
  {
    Error_Handler();
  }
  sClockSourceConfig.ClockSource = TIM_CLOCKSOURCE_INTERNAL;
  if (HAL_TIM_ConfigClockSource(&htim3, &sClockSourceConfig) != HAL_OK)
  {
    Error_Handler();
  }
  sMasterConfig.MasterOutputTrigger = TIM_TRGO_RESET;
  sMasterConfig.MasterSlaveMode = TIM_MASTERSLAVEMODE_DISABLE;
  if (HAL_TIMEx_MasterConfigSynchronization(&htim3, &sMasterConfig) != HAL_OK)
  {
    Error_Handler();
  }

}

static void MX_GPIO_Init(void)
{
  GPIO_InitTypeDef GPIO_InitStruct = {0};

  /* GPIO Ports Clock Enable */
  __HAL_RCC_GPIOF_CLK_ENABLE();
  __HAL_RCC_GPIOA_CLK_ENABLE();
  __HAL_RCC_GPIOB_CLK_ENABLE();

  /*Configure GPIO pin Output Level */
  HAL_GPIO_WritePin(GPIOA, CurrentBit1_Pin|CurrentBit2_Pin|CurrentBit3_Pin|CurrentBit4_Pin, GPIO_PIN_RESET);

  /*Configure GPIO pin Output Level */
  HAL_GPIO_WritePin(GPIOB, StepperStep_Pin|StepperDir_Pin|StepperEn_Pin|StepperSleep_Pin
                          |StepperRst_Pin|LCDcs_Pin|LCDrst_Pin|LCDa0_Pin, GPIO_PIN_RESET);

  /*Configure GPIO pins : CurrentBit1_Pin CurrentBit2_Pin CurrentBit3_Pin CurrentBit4_Pin */
  GPIO_InitStruct.Pin = CurrentBit1_Pin|CurrentBit2_Pin|CurrentBit3_Pin|CurrentBit4_Pin;
  GPIO_InitStruct.Mode = GPIO_MODE_OUTPUT_PP;
  GPIO_InitStruct.Pull = GPIO_NOPULL;
  GPIO_InitStruct.Speed = GPIO_SPEED_FREQ_LOW;
  HAL_GPIO_Init(GPIOA, &GPIO_InitStruct);

  /*Configure GPIO pins : StepperStep_Pin StepperDir_Pin StepperEn_Pin StepperSleep_Pin
                           StepperRst_Pin LCDcs_Pin LCDrst_Pin LCDa0_Pin */
  GPIO_InitStruct.Pin = StepperStep_Pin|StepperDir_Pin|StepperEn_Pin|StepperSleep_Pin
                          |StepperRst_Pin|LCDcs_Pin|LCDrst_Pin|LCDa0_Pin;
  GPIO_InitStruct.Mode = GPIO_MODE_OUTPUT_PP;
  GPIO_InitStruct.Pull = GPIO_NOPULL;
  GPIO_InitStruct.Speed = GPIO_SPEED_FREQ_LOW;
  HAL_GPIO_Init(GPIOB, &GPIO_InitStruct);

  /*Configure GPIO pins : RevBtn_Pin StopBtn_Pin FwdBtn_Pin EncBtn_Pin
                           EncB_Pin CurrBtn_Pin ModeBtn_Pin */
  GPIO_InitStruct.Pin = RevBtn_Pin|StopBtn_Pin|FwdBtn_Pin|EncBtn_Pin
                          |EncB_Pin|CurrBtn_Pin|ModeBtn_Pin;
  GPIO_InitStruct.Mode = GPIO_MODE_INPUT;
  GPIO_InitStruct.Pull = GPIO_NOPULL;
  HAL_GPIO_Init(GPIOB, &GPIO_InitStruct);

  /*Configure GPIO pin : PB15 */
  GPIO_InitStruct.Pin = GPIO_PIN_15;
  GPIO_InitStruct.Mode = GPIO_MODE_IT_RISING_FALLING;
  GPIO_InitStruct.Pull = GPIO_NOPULL;
  HAL_GPIO_Init(GPIOB, &GPIO_InitStruct);

  /* EXTI interrupt init*/
  HAL_NVIC_SetPriority(EXTI4_15_IRQn, 0, 0);
  HAL_NVIC_EnableIRQ(EXTI4_15_IRQn);

}

void Error_Handler(void)
{
  __disable_irq();
  while (1)
  {
  }
}
